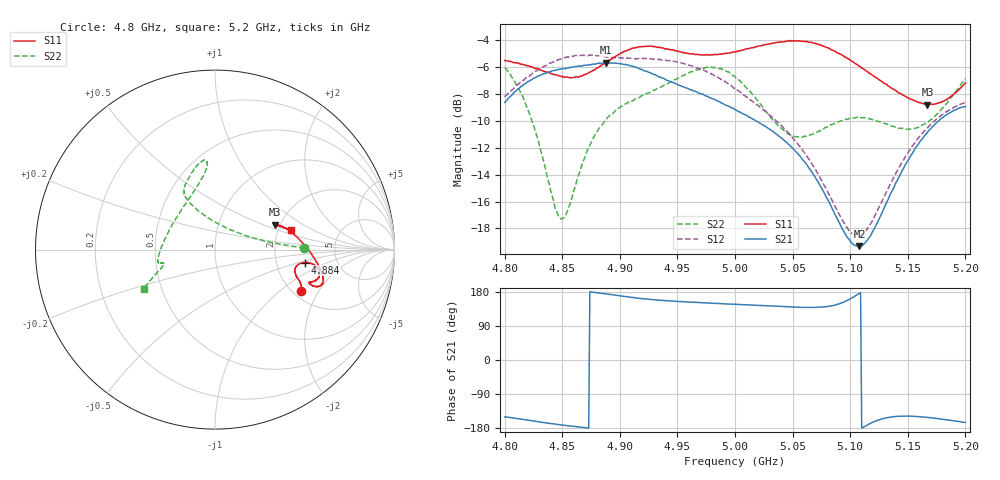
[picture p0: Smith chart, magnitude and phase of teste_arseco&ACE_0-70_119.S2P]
! Network Analyzer HP8722D
! Hewlett-Packard
! Data name: Linha & Wilkinson
! Saver's name: Rodrigo Anjos
! Comments: Teste da utilização de aquisição
! continua pelo VNA HP8722D
! Time and date: 8/5/2025 13:45
!  Frequency  S11  S21  S12  S22
# HZ  S  MA R 50
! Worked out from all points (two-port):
!   401 points, 4.8 GHz to 5.2 GHz, reference 50 ohm
!   highest |S21| = -5.67 dB at 4.888 GHz (marker M1); lowest = -19.3 dB at 5.108 GHz (marker M2)
!   |S21| within 3 dB of the highest: start of sweep to 4.988 GHz
!   lowest |S11| = -8.8 dB at 5.167 GHz (marker M3), VSWR 2.14, Z = 94.3 + j30.3 ohm
!   |S11| at or under -10 dB: nowhere
!   |S22| runs from -17.3 to -6.0 dB; largest |S21 - S12| = 1.1
!   S11 on the Smith chart (normalised r, x): 4.8 GHz: 2.22, -1.41; 4.884 GHz: 2.94, -0.57; 5.2 GHz: 2.35, +0.64
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4.8e9  0.5306 -25.4  0.3706 -150.1  0.3887 9.4  0.4981 1.0
4.821e9  0.5065 -20.8  0.4449 -159.3  0.4633 6.2  0.3413 5.9
4.843e9  0.4704 -17.4  0.4871 -169.0  0.5269 2.9  0.1557 38.4
4.848e9  0.4647 -16.1  0.4925 -170.8  0.5368 1.8  0.1386 57.6
4.855e9  0.4597 -14.3  0.4987 -173.6  0.5456 0.8  0.1475 85.8
4.867e9  0.4647 -11.0  0.5056 -177.8  0.5543 -0.9  0.2155 110.1
4.884e9  0.5083 -8.1  0.5194 175.9  0.5495 -2.2  0.3034 118.6
4.888e9  0.5236 -8.0  0.5205 174.6  0.5483 -2.3  0.3187 119.0
4.912e9  0.5893 -11.4  0.5036 164.7  0.5387 -1.4  0.3769 117.0
4.934e9  0.5938 -16.2  0.4613 157.6  0.5371 -2.4  0.4191 111.0
4.975e9  0.5579 -19.2  0.3911 150.5  0.4842 -6.2  0.5001 97.7
5e9  0.5717 -20.0  0.3483 146.9  0.4191 -6.1  0.4612 95.8
5.045e9  0.6261 -18.0  0.2628 140.6  0.2894 2.4  0.2848 133.1
5.067e9  0.6176 -13.8  0.2034 138.6  0.2184 9.0  0.282 165.1
5.097e9  0.5417 -3.3  0.1175 156.5  0.1272 37.2  0.3206 -171.5
5.108e9  0.5052 2.0  0.1081 176.1  0.1183 58.9  0.3262 -168.1
5.118e9  0.4727 6.9  0.1188 -166.3  0.1317 77.6  0.3209 -166.7
5.134e9  0.4246 14.7  0.1653 -151.2  0.1813 94.6  0.3044 -166.0
5.151e9  0.3845 20.6  0.2287 -148.1  0.2446 100.2  0.2945 -164.6
5.167e9  0.364 22.5  0.2868 -151.4  0.2983 101.3  0.3126 -161.5
5.183e9  0.3786 20.2  0.332 -157.5  0.3416 101.3  0.3641 -157.0
5.2e9  0.4382 14.6  0.3575 -164.8  0.3708 101.7  0.4541 -151.2
